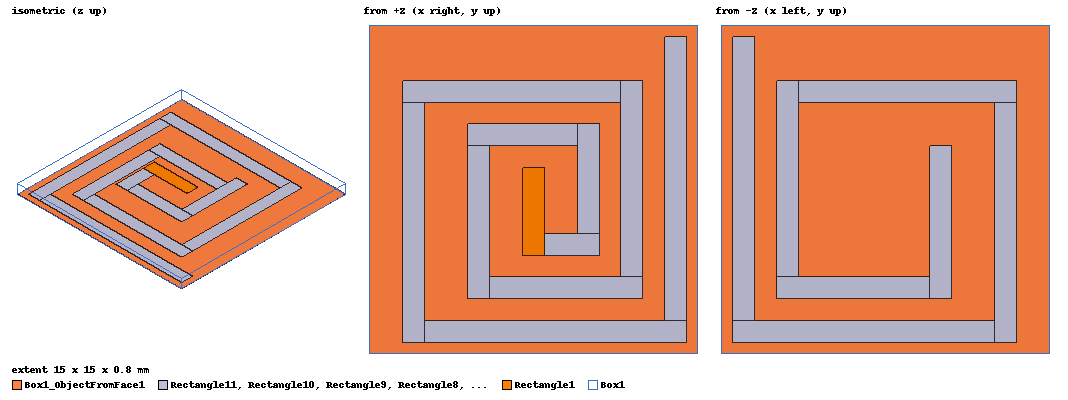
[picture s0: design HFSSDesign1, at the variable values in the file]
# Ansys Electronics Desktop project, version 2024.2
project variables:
  $Substrate_Length = 15mm
  $Substrate_Width = 15mm
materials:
  vacuum: permittivity=1

design HFSSDesign1 (HFSS, HFSS Terminal Network, model units mm)
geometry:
  Box1 [vacuum] = box(corner=(-($Substrate_Length/2), -($Substrate_Width/2), 0mm), size=($Substrate_Length, $Substrate_Width, 0.8mm))
  Box1_ObjectFromFace1 = object_from(Box1.face(-z))
  Rectangle1 = rectangle(corner=(-0.5mm, 1mm, 0.8mm), x_size=1mm, y_size=-4mm)
  Rectangle2 = rectangle(corner=(0.5mm, -3mm, 0.8mm), x_size=2.5mm, y_size=1mm)
  Rectangle3 = rectangle(corner=(3mm, -2mm, 0.8mm), x_size=-1mm, y_size=5mm)
  Rectangle4 = rectangle(corner=(2mm, 2mm, 0.8mm), x_size=-5mm, y_size=1mm)
  Rectangle5 = rectangle(corner=(-2mm, 2mm, 0mm), x_size=-1mm, y_size=-7mm)
  Rectangle6 = rectangle(corner=(-2mm, -5mm, 0mm), x_size=7mm, y_size=1mm)
  Rectangle7 = rectangle(corner=(4mm, -4mm, 0mm), x_size=1mm, y_size=9mm)
  Rectangle8 = rectangle(corner=(4mm, 4mm, 0mm), x_size=-10mm, y_size=1mm)
  Rectangle9 = rectangle(corner=(-5mm, 4mm, 0mm), x_size=-1mm, y_size=-11mm)
  Rectangle10 = rectangle(corner=(-5mm, -7mm, 0mm), x_size=12mm, y_size=1mm)
  Rectangle11 = rectangle(corner=(6mm, -6mm, 0mm), x_size=1mm, y_size=13mm)
